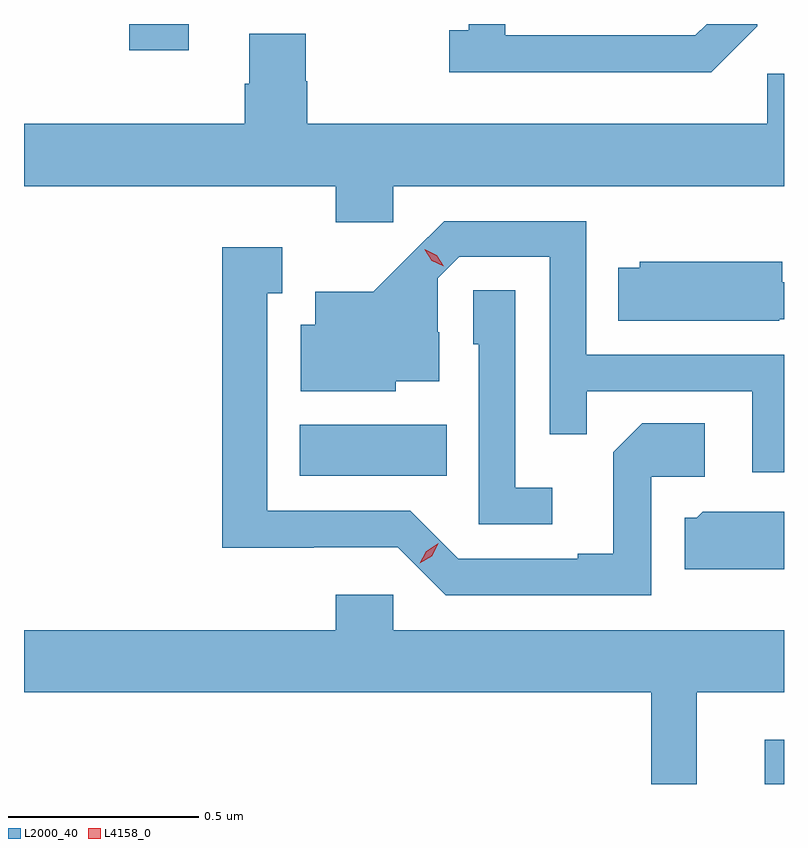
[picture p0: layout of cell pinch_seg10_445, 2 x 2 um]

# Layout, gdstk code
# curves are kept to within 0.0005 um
import gdstk
lib = gdstk.Library(unit=1e-6, precision=1e-09)
def R(c, l, rs):  # rectangles x0, y0, x1, y1
    for r in rs: c.add(gdstk.rectangle(r[:2], r[2:], *l))
def P(c, l, *ps):  # polygons
    for p in ps: c.add(gdstk.Polygon(p, *l))
L2000_40 = (2000, 40)
L4158_0 = (4158, 0)

pinch_seg10_445 = lib.new_cell('pinch_seg10_445')
R(pinch_seg10_445, L2000_40, [(389.009,1290.751,389.06,1290.868), (387.785,1291.562,388.172,1291.696), (387.337,1292.682,387.493,1292.751)])
P(pinch_seg10_445, L2000_40, [(388.989,1292.745),(388.989,1292.751),(388.857,1292.751),(388.827,1292.721),(388.327,1292.721),(388.327,1292.751),(388.23,1292.751),(388.23,1292.734),(388.179,1292.734),(388.179,1292.624),(388.868,1292.624)],
  [(388.032,1292.324),(389.06,1292.324),(389.06,1292.62),(389.016,1292.62),(389.016,1292.488),(387.806,1292.488),(387.806,1292.601),(387.801,1292.601),(387.801,1292.726),(387.653,1292.726),(387.653,1292.594),(387.641,1292.594),(387.641,1292.488),(387.06,1292.488),(387.06,1292.324),(387.881,1292.324),(387.881,1292.229),(388.032,1292.229)],
  [(389.06,1291.881),(388.539,1291.881),(388.539,1292.232),(388.166,1292.232),(387.979,1292.047),(387.827,1292.047),(387.827,1291.96),(387.788,1291.96),(387.788,1291.784),(388.038,1291.784),(388.038,1291.811),(388.153,1291.811),(388.153,1291.94),(388.149,1291.94),(388.149,1292.082),(388.206,1292.139),(388.443,1292.139),(388.443,1291.672),(388.541,1291.672),(388.541,1291.785),(388.977,1291.785),(388.977,1291.572),(389.06,1291.572)],
  [(388.71,1291.56),(388.852,1291.56),(388.852,1291.7),(388.687,1291.7),(388.611,1291.624),(388.611,1291.357),(388.517,1291.357),(388.517,1291.344),(388.203,1291.344),(388.077,1291.47),(387.7,1291.47),(387.7,1292.043),(387.739,1292.043),(387.739,1292.164),(387.582,1292.164),(387.582,1291.373),(387.822,1291.373),(387.822,1291.374),(388.044,1291.374),(388.17,1291.248),(388.71,1291.248)],
  [(389.048,1291.974),(389.06,1291.974),(389.06,1292.071),(389.056,1292.071),(389.056,1292.125),(388.68,1292.125),(388.68,1292.11),(388.624,1292.11),(388.624,1291.97),(389.048,1291.97)],
  [(388.45,1291.531),(388.353,1291.531),(388.353,1292.051),(388.242,1292.051),(388.242,1291.908),(388.257,1291.908),(388.257,1291.434),(388.45,1291.434)],
  [(389.06,1291.467),(388.98,1291.467),(388.98,1291.468),(388.846,1291.468),(388.83,1291.452),(388.799,1291.452),(388.799,1291.316),(389.06,1291.316)],
  [(388.831,1290.992),(389.06,1290.992),(389.06,1291.156),(388.032,1291.156),(388.032,1291.249),(387.881,1291.249),(387.881,1291.156),(387.06,1291.156),(387.06,1290.992),(388.71,1290.992),(388.71,1290.751),(388.831,1290.751)])
P(pinch_seg10_445, L4158_0, [(388.164,1292.113),(388.133,1292.128),(388.115,1292.157),(388.115,1292.158),(388.115,1292.158),(388.146,1292.143),(388.164,1292.113),(388.164,1292.113)],
  [(388.101,1291.332),(388.101,1291.332),(388.118,1291.364),(388.15,1291.384),(388.15,1291.384),(388.15,1291.383),(388.133,1291.351),(388.101,1291.332)])

lib.write_gds('pinch_seg10_445.gds')
